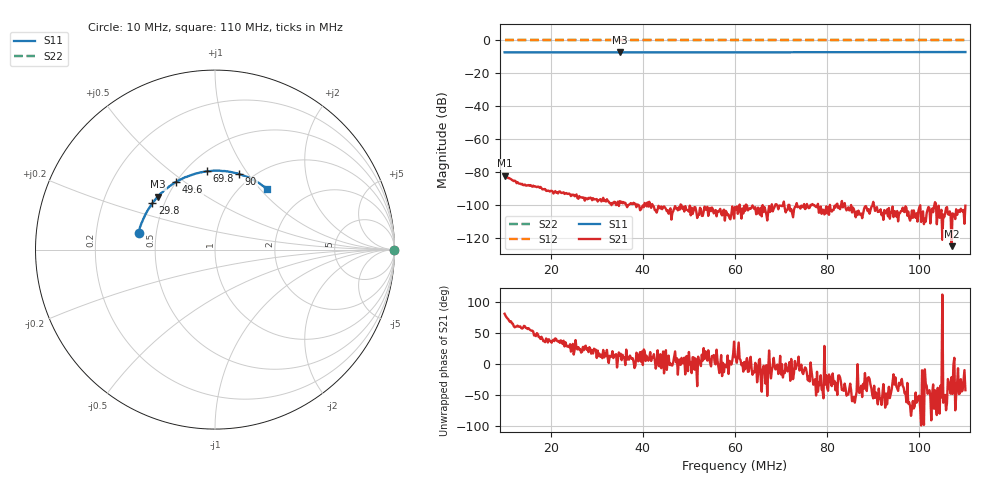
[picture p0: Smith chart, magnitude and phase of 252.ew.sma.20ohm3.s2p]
! Anritsu VNA Master:  Model: MS2036C/10/77
! SN:  1601066
! /card0/usr/20ohm3.s2p
! Existing Calibration Information:
! TYPE:  Current Settings,  Active Cal Settings
! TIME:  12/20/2017 04:13:07 PM,  12/20/2017 04:05:21 PM
! INTERNAL TEMP:  42.3 C,  43.3 C
! # POINTS:  501,  501
! START FREQ:  10.000 MHz,  10.000 MHz
! STOP FREQ:  110.000 MHz,  110.000 MHz
! SOURCE POWER:  High,  High
! IFBW:  100 Hz,  100 Hz
! AVG FACTOR:  1 ,  1
! REF PLANE 1:  0 mm,  0 mm
! REF PLANE 2:  0 mm,  0 mm
! CAL TYPE:  Full S11,  Full S11
! CAL METHOD:  SOLT,  SOLT
! CAL LINE TYPE:  Coax,  Coax
! DUT PORT 1:  K-Conn(F),  K-Conn(F)
! DUT PORT 2:  K-Conn(F),  K-Conn(F)
! CAL STATUS:  OK: Accuracy High,  --
# GHZ S DB R 50.0
! FREQ.GHZ  S11DB  S11A  S21DB  S21A  S12DB  S12A  S22DB  S22A
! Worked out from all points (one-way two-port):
!   501 points, 10 MHz to 110 MHz, reference 50 ohm
!   highest |S21| = -82.01 dB at 10 MHz (marker M1); lowest = -124.8 dB at 107 MHz (marker M2)
!   lowest |S11| = -7.3 dB at 35 MHz (marker M3), VSWR 2.53, Z = 22.3 + j16.2 ohm
!   |S11| at or under -10 dB: nowhere
!   |S22| runs from 0.0 to 0.0 dB; largest |S21 - S12| = 1
!   S11 on the Smith chart (normalised r, x): 10 MHz: 0.40, +0.09; 29.8 MHz: 0.43, +0.27; 49.6 MHz: 0.50, +0.47; 69.8 MHz: 0.63, +0.68; 90 MHz: 0.87, +0.91; 110 MHz: 1.30, +1.10
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0.01  -7.21 167.6  -82.01 80.6  0.00 0.0  0.00 0.0
0.014  -7.21 162.6  -87.64 57.9  0.00 0.0  0.00 0.0
0.0206  -7.23 154.5  -92.81 38.9  0.00 0.0  0.00 0.0
0.0268  -7.26 147.0  -95.07 19.2  0.00 0.0  0.00 0.0
0.0298  -7.25 143.5  -96.35 22.7  0.00 0.0  0.00 0.0
0.035  -7.26 137.1  -97.42 13.2  0.00 0.0  0.00 0.0
0.0366  -7.23 135.1  -101.11 6.8  0.00 0.0  0.00 0.0
0.041  -7.23 130.0  -98.24 8.9  0.00 0.0  0.00 0.0
0.0434  -7.25 126.9  -100.30 -0.1  0.00 0.0  0.00 0.0
0.0474  -7.22 122.1  -101.81 9.0  0.00 0.0  0.00 0.0
0.0496  -7.24 119.6  -102.89 12.7  0.00 0.0  0.00 0.0
0.0546  -7.21 113.6  -101.53 1.6  0.00 0.0  0.00 0.0
0.06  -7.21 107.2  -101.04 10.9  0.00 0.0  0.00 0.0
0.0628  -7.18 104.0  -103.06 -12.9  0.00 0.0  0.00 0.0
0.0698  -7.16 95.7  -100.14 12.8  0.00 0.0  0.00 0.0
0.0768  -7.13 87.6  -99.21 -22.8  0.00 0.0  0.00 0.0
0.082  -7.12 81.5  -99.47 -30.8  0.00 0.0  0.00 0.0
0.09  -7.10 72.2  -97.89 -55.6  0.00 0.0  0.00 0.0
0.0934  -7.09 68.3  -101.61 -37.0  0.00 0.0  0.00 0.0
0.101  -7.05 59.5  -111.38 -98.4  0.00 0.0  0.00 0.0
0.107  -7.04 52.6  -124.76 -21.4  0.00 0.0  0.00 0.0
0.11  -7.02 49.2  -100.24 -42.5  0.00 0.0  0.00 0.0
